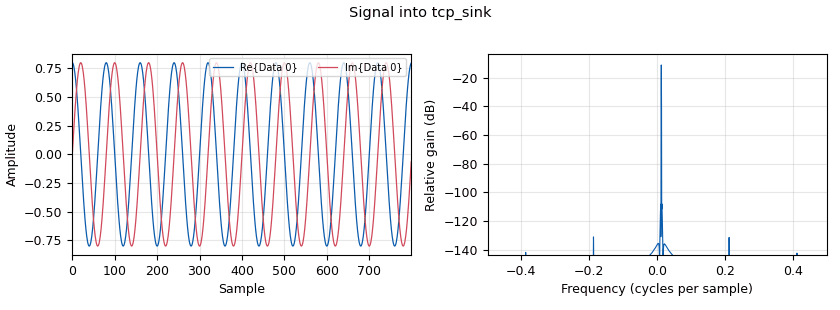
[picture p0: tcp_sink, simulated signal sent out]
options:
  parameters:
    author: bleez
    description: UVB-76-style buzzer simulation to SimTx
    generate_options: qt_gui
    id: uvb76_buzzer_iq_tcp
    output_language: python
    title: UVB-76 Buzzer IQ TCP
  states: {}

blocks:
- name: samp_rate
  id: variable
  parameters:
    value: '48000'
  states: {}
- name: tone_freq
  id: variable
  parameters:
    value: '600'
  states: {}
- name: tone
  id: analog_sig_source_x
  parameters:
    amp: '0.8'
    freq: tone_freq
    offset: '0'
    phase: '0'
    samp_rate: samp_rate
    type: complex
    waveform: analog.GR_SIN_WAVE
  states: {}
- name: tcp_sink
  id: network_tcp_sink
  parameters:
    addr: 127.0.0.1
    eof: 'False'
    mtu: '1472'
    port: '2000'
    type: complex
  states: {}

connections:
- [tone, '0', tcp_sink, '0']

metadata:
  file_format: 1
  grc_version: 3.10.12.0
